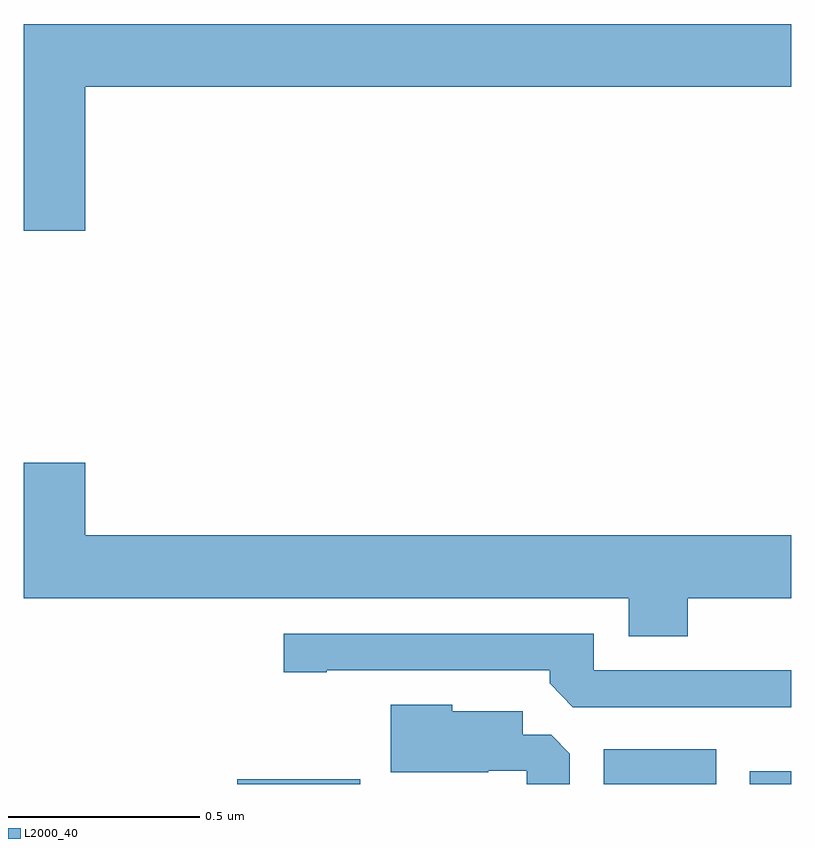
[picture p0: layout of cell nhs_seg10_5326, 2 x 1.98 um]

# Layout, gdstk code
import gdstk
lib = gdstk.Library(unit=1e-6, precision=1e-09)
def R(c, l, rs):  # rectangles x0, y0, x1, y1
    for r in rs: c.add(gdstk.rectangle(r[:2], r[2:], *l))
def P(c, l, *ps):  # polygons
    for p in ps: c.add(gdstk.Polygon(p, *l))
L2000_40 = (2000, 40)

nhs_seg10_5326 = lib.new_cell('nhs_seg10_5326')
R(nhs_seg10_5326, L2000_40, [(177.557,1298.5,177.877,1298.512), (178.511,1298.5,178.804,1298.59), (178.892,1298.5,179,1298.533)])
P(nhs_seg10_5326, L2000_40, [(177.16,1300.316),(179,1300.316),(179,1300.48),(177,1300.48),(177,1299.942),(177.16,1299.942)],
  [(178.73,1298.984),(179,1298.984),(179,1299.148),(177.16,1299.148),(177.16,1299.337),(177,1299.337),(177,1298.984),(178.577,1298.984),(178.577,1298.885),(178.73,1298.885)],
  [(179,1298.796),(178.485,1298.796),(178.485,1298.892),(177.678,1298.892),(177.678,1298.791),(177.79,1298.791),(177.79,1298.796),(178.37,1298.796),(178.37,1298.762),(178.431,1298.7),(179,1298.7)],
  [(178.423,1298.579),(178.374,1298.628),(178.3,1298.628),(178.3,1298.689),(178.116,1298.689),(178.116,1298.707),(177.956,1298.707),(177.956,1298.531),(178.211,1298.531),(178.211,1298.535),(178.311,1298.535),(178.311,1298.5),(178.423,1298.5)])

lib.write_gds('nhs_seg10_5326.gds')
